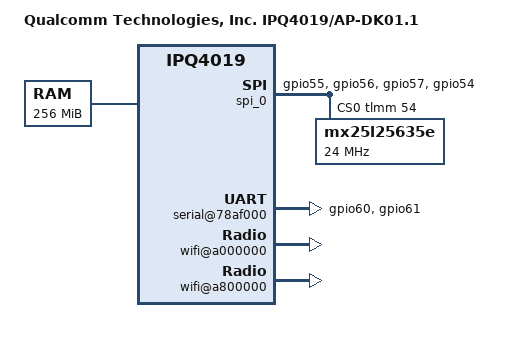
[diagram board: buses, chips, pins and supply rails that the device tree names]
/* Copyright (c) 2015, The Linux Foundation. All rights reserved.
 *
 * Permission to use, copy, modify, and/or distribute this software for any
 * purpose with or without fee is hereby granted, provided that the above
 * copyright notice and this permission notice appear in all copies.
 *
 * THE SOFTWARE IS PROVIDED "AS IS" AND THE AUTHOR DISCLAIMS ALL WARRANTIES
 * WITH REGARD TO THIS SOFTWARE INCLUDING ALL IMPLIED WARRANTIES OF
 * MERCHANTABILITY AND FITNESS. IN NO EVENT SHALL THE AUTHOR BE LIABLE FOR
 * ANY SPECIAL, DIRECT, INDIRECT, OR CONSEQUENTIAL DAMAGES OR ANY DAMAGES
 * WHATSOEVER RESULTING FROM LOSS OF USE, DATA OR PROFITS, WHETHER IN AN
 * ACTION OF CONTRACT, NEGLIGENCE OR OTHER TORTIOUS ACTION, ARISING OUT OF
 * OR IN CONNECTION WITH THE USE OR PERFORMANCE OF THIS SOFTWARE.
 *
 */

#include "qcom-ipq4019.dtsi"

/ {
	model = "Qualcomm Technologies, Inc. IPQ4019/AP-DK01.1";
	compatible = "qcom,ipq4019";

	memory {
		device_type = "memory";
		reg = <0x80000000 0x10000000>; /* 256MB */
	};

	reserved-memory {
		#address-cells = <1>;
		#size-cells = <1>;
		ranges;

		rsvd1@87000000 {
			/* Reserved for other subsystem */
			reg = <0x87000000 0x500000>;
			no-map;
		};

		wifi_dump@87500000 {
			reg = <0x87500000 0x600000>;
			no-map;
		};

		rsvd2@87B00000 {
			/* Reserved for other subsystem */
			reg = <0x87B00000 0x500000>;
			no-map;
		};
	};

	soc {
		rng@22000 {
			status = "ok";
		};

		pinctrl@1000000 {
			serial_pins: serial_pinmux {
				mux {
					pins = "gpio60", "gpio61";
					function = "blsp_uart0";
					bias-disable;
				};
			};

			spi_0_pins: spi_0_pinmux {
				pinmux {
					function = "blsp_spi0";
					pins = "gpio55", "gpio56", "gpio57";
				};
				pinmux_cs {
					function = "gpio";
					pins = "gpio54";
				};
				pinconf {
					pins = "gpio55", "gpio56", "gpio57";
					drive-strength = <12>;
					bias-disable;
				};
				pinconf_cs {
					pins = "gpio54";
					drive-strength = <2>;
					bias-disable;
					output-high;
				};
			};
		};

		blsp_dma: dma@7884000 {
			status = "ok";
		};

		spi_0: spi@78b5000 {
			pinctrl-0 = <&spi_0_pins>;
			pinctrl-names = "default";
			status = "ok";
			cs-gpios = <&tlmm 54 0>;

			mx25l25635e@0 {
				#address-cells = <1>;
				#size-cells = <1>;
				reg = <0>;
				compatible = "mx25l25635e";
				spi-max-frequency = <24000000>;
			};
		};

		serial@78af000 {
			pinctrl-0 = <&serial_pins>;
			pinctrl-names = "default";
			status = "ok";
		};

		cryptobam: dma@8e04000 {
			status = "ok";
		};

		crypto@8e3a000 {
			status = "ok";
		};

		watchdog@b017000 {
			status = "ok";
		};

		wifi@a000000 {
			status = "ok";
		};

		wifi@a800000 {
			status = "ok";
		};
	};
};
